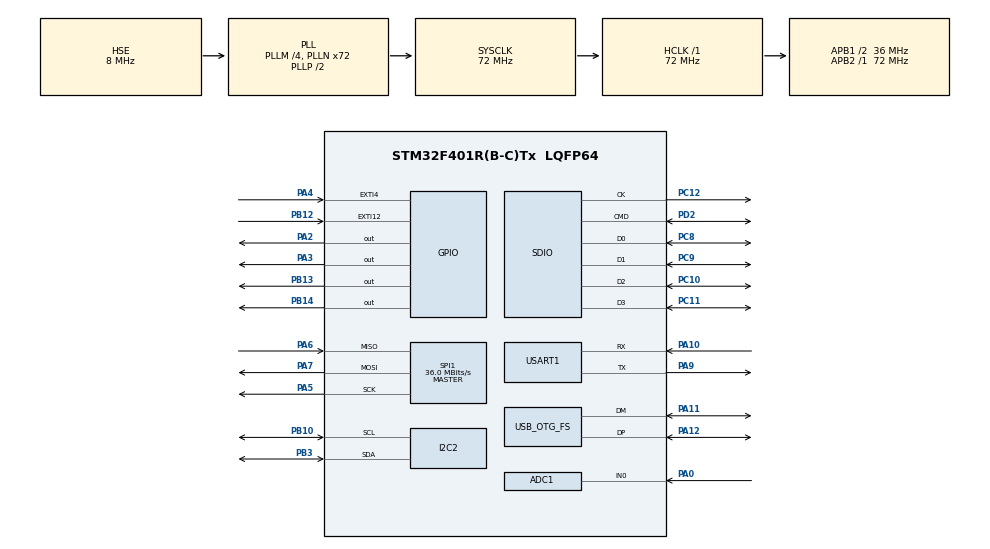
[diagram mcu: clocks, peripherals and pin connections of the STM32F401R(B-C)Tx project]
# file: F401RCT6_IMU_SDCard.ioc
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ADC1.Channel-0\#ChannelRegularConversion=ADC_CHANNEL_0
ADC1.ContinuousConvMode=ENABLE
ADC1.EOCSelection=ADC_EOC_SEQ_CONV
ADC1.NbrOfConversionFlag=1
ADC1.Rank-0\#ChannelRegularConversion=1
ADC1.SamplingTime-0\#ChannelRegularConversion=ADC_SAMPLETIME_3CYCLES
ADC1.ScanConvMode=DISABLE
ADC1.master=1
Dma.Request0=USART1_TX
Dma.USART1_TX.0.Direction=DMA_MEMORY_TO_PERIPH
Dma.USART1_TX.0.FIFOMode=DMA_FIFOMODE_DISABLE
Dma.USART1_TX.0.Instance=DMA2_Stream7
Dma.USART1_TX.0.MemDataAlignment=DMA_MDATAALIGN_BYTE
Dma.USART1_TX.0.MemInc=DMA_MINC_ENABLE
Dma.USART1_TX.0.Mode=DMA_NORMAL
Dma.USART1_TX.0.PeriphDataAlignment=DMA_PDATAALIGN_BYTE
Dma.USART1_TX.0.PeriphInc=DMA_PINC_DISABLE
Dma.USART1_TX.0.Priority=DMA_PRIORITY_LOW
FATFS.USE_DMA_CODE_SD=0
FATFS._USE_LFN=3
I2C2.I2C_Mode=I2C_Fast
Mcu.Family=STM32F4
Mcu.Name=STM32F401R(B-C)Tx
Mcu.Package=LQFP64
NVIC.DMA2_Stream7_IRQn=true\:0\:0\:false\:false\:true\:false
NVIC.EXTI15_10_IRQn=true\:1\:0\:true\:false\:true\:true
NVIC.EXTI4_IRQn=true\:1\:0\:true\:false\:true\:true
NVIC.OTG_FS_IRQn=true\:0\:0\:false\:false\:true\:false
NVIC.PriorityGroup=NVIC_PRIORITYGROUP_4
NVIC.SDIO_IRQn=true\:3\:0\:true\:false\:true\:true
NVIC.USART1_IRQn=true\:0\:0\:false\:false\:true\:true
PA0-WKUP.Signal=ADCx_IN0
PA10.Mode=Asynchronous
PA10.Signal=USART1_RX
PA11.Mode=Device_Only
PA11.Signal=USB_OTG_FS_DM
PA12.Mode=Device_Only
PA12.Signal=USB_OTG_FS_DP
PA13.Mode=Serial_Wire
PA13.Signal=SYS_JTMS-SWDIO
PA14.Mode=Serial_Wire
PA14.Signal=SYS_JTCK-SWCLK
PA2.Signal=GPIO_Output
PA3.Signal=GPIO_Output
PA4.Signal=GPXTI4
PA5.Mode=Full_Duplex_Master
PA5.Signal=SPI1_SCK
PA6.Mode=Full_Duplex_Master
PA6.Signal=SPI1_MISO
PA7.Mode=Full_Duplex_Master
PA7.Signal=SPI1_MOSI
PA9.Mode=Asynchronous
PA9.Signal=USART1_TX
PB10.Mode=I2C
PB10.Signal=I2C2_SCL
PB12.Signal=GPXTI12
PB13.GPIO_ModeDefaultOutputPP=GPIO_MODE_OUTPUT_OD
PB13.Signal=GPIO_Output
PB14.GPIO_ModeDefaultOutputPP=GPIO_MODE_OUTPUT_OD
PB14.Signal=GPIO_Output
PB3.Mode=I2C
PB3.Signal=I2C2_SDA
PC10.Mode=SD_4_bits_Wide_bus
PC10.Signal=SDIO_D2
PC11.Mode=SD_4_bits_Wide_bus
PC11.Signal=SDIO_D3
PC12.Mode=SD_4_bits_Wide_bus
PC12.Signal=SDIO_CK
PC14-OSC32_IN.Mode=LSE-External-Oscillator
PC14-OSC32_IN.Signal=RCC_OSC32_IN
PC15-OSC32_OUT.Mode=LSE-External-Oscillator
PC15-OSC32_OUT.Signal=RCC_OSC32_OUT
PC8.Mode=SD_4_bits_Wide_bus
PC8.Signal=SDIO_D0
PC9.Mode=SD_4_bits_Wide_bus
PC9.Signal=SDIO_D1
PD2.Mode=SD_4_bits_Wide_bus
PD2.Signal=SDIO_CMD
PH0\ -\ OSC_IN.Mode=HSE-External-Oscillator
PH0\ -\ OSC_IN.Signal=RCC_OSC_IN
PH1\ -\ OSC_OUT.Mode=HSE-External-Oscillator
PH1\ -\ OSC_OUT.Signal=RCC_OSC_OUT
ProjectManager.HeapSize=0x400
ProjectManager.StackSize=0x1000
ProjectManager.TargetToolchain=MDK-ARM V5
RCC.48MHZClocksFreq_Value=48000000
RCC.AHBFreq_Value=72000000
RCC.APB1CLKDivider=RCC_HCLK_DIV2
RCC.APB1Freq_Value=36000000
RCC.APB1TimFreq_Value=72000000
RCC.APB2Freq_Value=72000000
RCC.APB2TimFreq_Value=72000000
RCC.CortexFreq_Value=72000000
RCC.HCLKFreq_Value=72000000
RCC.HSE_VALUE=8000000
RCC.HSI_VALUE=16000000
RCC.PLLM=4
RCC.PLLN=72
RCC.PLLQ=3
RCC.RCC_RTC_Clock_SourceVirtual=RCC_RTCCLKSOURCE_LSE
RCC.SYSCLKFreq_VALUE=72000000
RCC.SYSCLKSource=RCC_SYSCLKSOURCE_PLLCLK
RCC.VCOOutputFreq_Value=144000000
SDIO.ClockDiv=2
SH.ADCx_IN0.0=ADC1_IN0,IN0
SPI1.CalculateBaudRate=36.0 MBits/s
SPI1.Direction=SPI_DIRECTION_2LINES
SPI1.Mode=SPI_MODE_MASTER
SPI1.VirtualType=VM_MASTER
USART1.VirtualMode=VM_ASYNC
USB_DEVICE.CLASS_NAME_FS=CDC
USB_DEVICE.VirtualMode=Cdc
USB_DEVICE.VirtualModeFS=Cdc_FS
USB_OTG_FS.VirtualMode=Device_Only
VP_FATFS_VS_SDIO.Mode=SDIO
VP_RTC_VS_RTC_Activate.Mode=RTC_Enabled
VP_USB_DEVICE_VS_USB_DEVICE_CDC_FS.Mode=CDC_FS
board=F401RCT6_IMU_SDCard

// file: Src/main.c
/**
  ******************************************************************************
  * @file           : main.c
  * @brief          : Main program body
  ******************************************************************************
  * This notice applies to any and all portions of this file
  * that are not between comment pairs USER CODE BEGIN and
  * USER CODE END. Other portions of this file, whether
  * inserted by the user or by software development tools
  * are owned by their respective copyright owners.
  *
  * Copyright (c) 2019 STMicroelectronics International N.V.
  * All rights reserved.
  *
  * Redistribution and use in source and binary forms, with or without
  * modification, are permitted, provided that the following conditions are met:
  *
  * 1. Redistribution of source code must retain the above copyright notice,
  *    this list of conditions and the following disclaimer.
  * 2. Redistributions in binary form must reproduce the above copyright notice,
  *    this list of conditions and the following disclaimer in the documentation
  *    and/or other materials provided with the distribution.
  * 3. Neither the name of STMicroelectronics nor the names of other
  *    contributors to this software may be used to endorse or promote products
  *    derived from this software without specific written permission.
  * 4. This software, including modifications and/or derivative works of this
  *    software, must execute solely and exclusively on microcontroller or
  *    microprocessor devices manufactured by or for STMicroelectronics.
  * 5. Redistribution and use of this software other than as permitted under
  *    this license is void and will automatically terminate your rights under
  *    this license.
  *
  * THIS SOFTWARE IS PROVIDED BY STMICROELECTRONICS AND CONTRIBUTORS "AS IS"
  * AND ANY EXPRESS, IMPLIED OR STATUTORY WARRANTIES, INCLUDING, BUT NOT
  * LIMITED TO, THE IMPLIED WARRANTIES OF MERCHANTABILITY, FITNESS FOR A
  * PARTICULAR PURPOSE AND NON-INFRINGEMENT OF THIRD PARTY INTELLECTUAL PROPERTY
  * RIGHTS ARE DISCLAIMED TO THE FULLEST EXTENT PERMITTED BY LAW. IN NO EVENT
  * SHALL STMICROELECTRONICS OR CONTRIBUTORS BE LIABLE FOR ANY DIRECT, INDIRECT,
  * INCIDENTAL, SPECIAL, EXEMPLARY, OR CONSEQUENTIAL DAMAGES (INCLUDING, BUT NOT
  * LIMITED TO, PROCUREMENT OF SUBSTITUTE GOODS OR SERVICES; LOSS OF USE, DATA,
  * OR PROFITS; OR BUSINESS INTERRUPTION) HOWEVER CAUSED AND ON ANY THEORY OF
  * LIABILITY, WHETHER IN CONTRACT, STRICT LIABILITY, OR TORT (INCLUDING
  * NEGLIGENCE OR OTHERWISE) ARISING IN ANY WAY OUT OF THE USE OF THIS SOFTWARE,
  * EVEN IF ADVISED OF THE POSSIBILITY OF SUCH DAMAGE.
  *
  ******************************************************************************
  */
#include "main.h"
#include "stm32f4xx_hal.h"
#include "fatfs.h"
#include "usb_device.h"

/* USER CODE BEGIN Includes */
#include "usbd_cdc_if.h"
#include "MPU9250_RegisterMap.h"
#include "string.h"
#include "SparkFunMPU9250-DMP.h"
#include "sd_diskio.h"
#include "ff.h"
/* USER CODE END Includes */

ADC_HandleTypeDef hadc1;

I2C_HandleTypeDef hi2c2;

RTC_HandleTypeDef hrtc;

SD_HandleTypeDef hsd;

SPI_HandleTypeDef hspi1;

UART_HandleTypeDef huart1;
DMA_HandleTypeDef hdma_usart1_tx;

/* USER CODE BEGIN PV */
/* Private variables ---------------------------------------------------------*/
uint8_t I2C_data_ready;
long gyro_bias[3]={0xB1,0xDE,0xFFFFFFFB};
long accel_bias[3]={0x2D, 0x152, 0xFFFFFFA4};
RTC_TimeTypeDef rtc_time;
RTC_DateTypeDef rtc_date;
volatile uint16_t Vbat;
uint32_t Vbat_tick;
char str_time[80];
char str_imu[128];
FIL MyFile;
uint32_t SD_dected;
uint32_t SDData_ready;
HAL_SD_CardInfoTypeDef fff;

uint32_t firsttime;
uint8_t filename[17];

uint32_t _1s_counter;
/* USER CODE END PV */

void SystemClock_Config(void);
static void MX_GPIO_Init(void);
static void MX_DMA_Init(void);
static void MX_RTC_Init(void);
static void MX_SDIO_SD_Init(void);
static void MX_I2C2_Init(void);
static void MX_ADC1_Init(void);
static void MX_SPI1_Init(void);
static void MX_USART1_UART_Init(void);

/* USER CODE BEGIN PFP */
/* Private function prototypes -----------------------------------------------*/

void Vbat_monitor();
extern "C" {void rtc_set(uint8_t* , uint32_t );}
/* USER CODE END PFP */

/* USER CODE BEGIN 0 */
void update_str_time()
{
	  HAL_RTC_GetTime(&hrtc, &rtc_time, RTC_FORMAT_BIN);
	  HAL_RTC_GetDate(&hrtc, &rtc_date, RTC_FORMAT_BIN);
	  sprintf(str_time,"%04d%02d%02d%02d%02d%02d",2000+rtc_date.Year, rtc_date.Month, rtc_date.Date, rtc_time.Hours, rtc_time.Minutes, rtc_time.Seconds);
}

void SD_DataWrite()
{
 uint32_t wbytes; /* File write counts */
	if (HAL_GetTick()-firsttime>=300000)	//300s
	{
		firsttime=HAL_GetTick();
		update_str_time();
		memcpy(filename, &(str_time[0]), 12);
	}

//	if (Vbat>2172)	//电压不足时判断为断电 停止写入
//	{

		 if(f_open(&MyFile, (TCHAR*)&filename, FA_WRITE | FA_OPEN_APPEND) == FR_OK)
		 {
			 uint8_t tmp[103]={0};
			 memcpy(tmp, &(str_time[8]), 6);
			 tmp[6]='.';
			 uint32_t t=HAL_GetTick();
			 tmp[7]='0'+(t/100%10);
			 tmp[8]='0'+(t/10%10);
			 tmp[9]=':';
			 memcpy(&(tmp[10]), str_imu, 0x5D);
			 //tmp[103]='\0';

			 if (f_write(&MyFile, tmp, 103, (UINT *)&wbytes)==FR_OK)
			 {
				 //f_sync(&MyFile);
				 //f_printf(&MyFile, (TCHAR*)tmp);
				 HAL_GPIO_TogglePin(led_SYS_state_GPIO_Port, led_SYS_state_Pin);
			 }
		//		f_write(&MyFile, &(str_time[8]), 7, (UINT *)&wbytes);
		//
		//	 f_write(&MyFile, ":\t", sizeof(":\t"), (UINT *)&wbytes);
		//	 f_write(&MyFile, str_imu, 0x5D, (UINT *)&wbytes);
		//	 f_write(&MyFile, "\n", sizeof("\n"), (UINT *)&wbytes);

		 }

		 f_close(&MyFile);
//	 }
	//HAL_GPIO_WritePin(led_SYS_state_GPIO_Port, led_SYS_state_Pin, GPIO_PIN_SET);
// if(f_open(&MyFile, "STM32.TXT", FA_OPEN_ALWAYS | FA_WRITE) == FR_OK)
// {
//		 f_lseek(&MyFile, MyFile.fsize);
//		//f_write(&MyFile, str_time, 15, (UINT *)&wbytes);
//		f_write(&MyFile, str_time, (UINT)strlen(str_time), (UINT *)&wbytes);
//		 f_write(&MyFile, ktext, sizeof(ktext), (UINT *)&wbytes) ;
// }
// 	 f_close(&MyFile);

}

//每次复位后模拟一次插拔
void USB_soft_unplug()
{
  GPIO_InitTypeDef GPIO_InitStruct;
  /* GPIO Ports Clock Enable */
  __HAL_RCC_GPIOA_CLK_ENABLE();
  /*Configure GPIO pin Output Level */
  HAL_GPIO_WritePin(GPIOA, GPIO_PIN_12, GPIO_PIN_RESET);
  /*Configure GPIO pin : PA12 */
  GPIO_InitStruct.Pin = GPIO_PIN_12;
  GPIO_InitStruct.Mode = GPIO_MODE_OUTPUT_PP;
  GPIO_InitStruct.Pull = GPIO_PULLDOWN;
  GPIO_InitStruct.Speed = GPIO_SPEED_FREQ_LOW;
  HAL_GPIO_Init(GPIOA, &GPIO_InitStruct);

  HAL_GPIO_WritePin(GPIOA, GPIO_PIN_12,
  GPIO_PIN_RESET);
  HAL_Delay(220);
  //先把PA12拉低再释放，利用D+模拟USB的拔插动作
	HAL_GPIO_DeInit(GPIOA, GPIO_PIN_12);
}

void Vbat_monitor()
{

  if (Vbat>=2358)	//3.8V/2/3.3V*4096
	  HAL_GPIO_WritePin(led_bat_GPIO_Port, led_bat_Pin, GPIO_PIN_RESET);
  else if ( (Vbat>=2234) && (Vbat<2358) )	//3.6V-3.8V
  {
	  if (Vbat_tick>=500)
	  {
		  Vbat_tick=0;
		  HAL_GPIO_TogglePin(led_bat_GPIO_Port, led_bat_Pin);
	  }
  }
  else
  {
	  if (Vbat_tick>=100)
	  {
		  Vbat_tick=0;
		  HAL_GPIO_TogglePin(led_bat_GPIO_Port, led_bat_Pin);
	  }
  }
}

uint32_t chararrayToint(uint8_t* p, uint32_t len)
{
	uint32_t tmp=0, mult = 1;
	while (len--)
	{
		tmp+=(p[len]-'0')*mult;
		mult*=10;
	}
	return tmp;
}

void rtc_set(uint8_t* Buf, uint32_t len)
{
//	if (len==19)
//	{
		uint8_t* p=Buf;
		if((p[0]=='R') && (p[1]=='T') && (p[2]=='C') && (p[3]==':') && (p[12]=='/'))
		{
			rtc_date.Year=chararrayToint(&p[4], 4)-2000;
			rtc_date.Month=chararrayToint(&p[8], 2);
			rtc_date.Date=chararrayToint(&p[10], 2);
			HAL_RTC_SetDate(&hrtc, &rtc_date, RTC_FORMAT_BIN);
			rtc_time.Hours=chararrayToint(&p[13], 2);
			rtc_time.Minutes=chararrayToint(&p[15], 2);
			rtc_time.Seconds=chararrayToint(&p[17], 2);
			HAL_RTC_SetTime(&hrtc, &rtc_time, RTC_FORMAT_BIN);
		}
		else
		{
			uint8_t str[]="RTC formatv should be: RTC:20190705/151350\r\n";
			CDC_Transmit_FS(str, (uint16_t)sizeof(str));
		}
//	}

//  rtc_time.Hours=1;
//  rtc_time.Minutes=19;
//  rtc_time.Seconds=0;
//  HAL_RTC_SetTime(&hrtc, &rtc_time, RTC_FORMAT_BIN);
//  rtc_date.Date=5;
//  rtc_date.Month=7;
//  rtc_date.WeekDay=5;
//  rtc_date.Year=19;
//  HAL_RTC_SetDate(&hrtc, &rtc_date, RTC_FORMAT_BIN);
}

MPU9250_DMP imu;

void printIMUData(void)
{
  // After calling update() the ax, ay, az, gx, gy, gz, mx,
  // my, mz, time, and/or temerature class variables are all
  // updated. Access them by placing the object. in front:

  // Use the calcAccel, calcGyro, and calcMag functions to
  // convert the raw sensor readings (signed 16-bit values)
  // to their respective units.

//  float accelX = imu.calcAccel(imu.ax);
//  float accelY = imu.calcAccel(imu.ay);
//  float accelZ = imu.calcAccel(imu.az);
//  float accelX = imu.calcAccel(imu.ax-accel_bias[0]);
//  float accelY = imu.calcAccel(imu.ay-accel_bias[1]);
//  float accelZ = imu.calcAccel(imu.az-accel_bias[2]);
  float gyroX = imu.calcGyro(imu.gx - gyro_bias[0]);
  float gyroY = imu.calcGyro(imu.gy - gyro_bias[1]);
  float gyroZ = imu.calcGyro(imu.gz - gyro_bias[2]);
  float accelX = imu.calcAccel(imu.ax)-accel_bias[0]/16384.f;
  float accelY = imu.calcAccel(imu.ay)-accel_bias[1]/16384.f;
  float accelZ = imu.calcAccel(imu.az)-accel_bias[2]/16384.f;
//  float gyroX = imu.calcGyro(imu.gx )-gyro_bias[0]/(32768.f/250);
//  float gyroY = imu.calcGyro(imu.gy )-gyro_bias[1]/(32768.f/250);
//  float gyroZ = imu.calcGyro(imu.gz )-gyro_bias[2]/(32768.f/250);
  float magX = imu.calcMag(imu.mx);
  float magY = imu.calcMag(imu.my);
  float magZ = imu.calcMag(imu.mz);
//

////	buf[0]=4;
////	void * p=&accelY;
////
////	buf[1]=(*(uint32_t*)p)>>24;
////	buf[2]=(*(uint32_t*)p)>>16;
////	buf[3]=(*(uint32_t*)p)>>8;
////	buf[4]=(*(uint32_t*)p)&0xff;
////	SEND_BUF(buf);
//printf("imu.gx:%d gyro_bias[0]:%d\r\n",imu.gx, gyro_bias[0]);
//  printf("Accel: %5.3f,%5.3f,%5.3f;",accelX,accelY,accelZ);
//  printf("Gyro: %5.3f,%5.3f,%5.3f;",gyroX,gyroY,gyroZ);
//  printf("Mag: %.3f,%.3f,%.3f",magX,magY,magZ);
////  printf("Time: %lu ms",imu.time);
//  printf("\r\n");

	update_str_time();
	  //CDC_Transmit_FS((uint8_t*)str_time, (uint16_t)sizeof(str_time));

	sprintf(str_imu,"Accel:%7.3f,%7.3f,%7.3f;  Gyro: %7.3f,%7.3f,%7.3f;  Mag:%7.3f,%7.3f,%7.3f\r\n",accelX,accelY,accelZ,gyroX,gyroY,gyroZ,magX,magY,magZ);
	//sprintf(str_imu,"Accel: %7.3f,%7.3f,%7.3f;Gyro: %7.3f,%7.3f,%7.3f\r\n",accelX,accelY,accelZ,gyroX,gyroY,gyroZ);
	CDC_Transmit_FS((uint8_t*)str_imu, (uint16_t)strlen(str_imu));
	SDData_ready=1;

//	nrf24_packed.count=24;
//	nrf24_packed.acc_int16[0]=imu.ax;
//	nrf24_packed.acc_int16[1]=imu.ay;
//	nrf24_packed.acc_int16[2]=imu.az;
//	nrf24_packed.gyro_int16[0]=imu.gx;
//	nrf24_packed.gyro_int16[1]=imu.gy;
//	nrf24_packed.gyro_int16[2]=imu.gz;
//	nrf24_packed.mag_q30[0]=imu.mx;
//	nrf24_packed.mag_q30[1]=imu.my;
//	nrf24_packed.mag_q30[2]=imu.mz;
//	SEND_BUF((uint8_t *)&nrf24_packed);
}

void I2CSetup()
{
  uint8_t pdata[10]={0};
	HAL_I2C_Mem_Read(&hi2c2, ((0x68<<1)), MPU9250_WHO_AM_I, I2C_MEMADD_SIZE_8BIT, pdata, 1, 1000);
//  while (pdata[0]!=0X71)
//  {
//	  //uint8_t str[]="unable to communicate with MPU9250\n";
//	  //CDC_Transmit_FS(str, sizeof(str));
//	  //printf("unable to communicate with MPU9250\n");
//	  HAL_GPIO_TogglePin(led_SYS_state_GPIO_Port,led_SYS_state_Pin);
//	  HAL_I2C_Mem_Read(&hi2c2, ((0x68<<1)), MPU9250_WHO_AM_I, I2C_MEMADD_SIZE_8BIT, pdata, 1, 1000);
//	  HAL_Delay(1000);
//  }

  mpu_run_6500_self_test(gyro_bias, accel_bias,0);
//  gyro_bias[3]={0xA0,0xF2,0xFFFFFFEC};
//  accel_bias[3]={0xE2, 0x101, 0xFFFFFE55};
//  HAL_Delay(100);

  imu.begin();

  imu.setSensors(INV_XYZ_GYRO | INV_XYZ_ACCEL | INV_XYZ_COMPASS);

  // Use setGyroFSR() and setAccelFSR() to configure the
  // gyroscope and accelerometer full scale ranges.
  // Gyro options are +/- 250, 500, 1000, or 2000 dps
  imu.setGyroFSR(250); // Set gyro to 2000 dps
  // Accel options are +/- 2, 4, 8, or 16 g
  imu.setAccelFSR(4); // Set accel to +/-2g
  imu.setSampleRate(100); // Set accel/gyro sample rate to 4Hz
  imu.setLPF(98);
  imu.setCompassSampleRate(100); // Set mag rate to 4Hz

  // Use enableInterrupt() to configure the MPU-9250's
  // interrupt output as a "data ready" indicator.
  imu.enableInterrupt(1);

  // The interrupt level can either be active-high or low.
  // Configure as active-low, since we'll be using the pin's
  // internal pull-up resistor.
  // Options are INT_ACTIVE_LOW or INT_ACTIVE_HIGH
  imu.setIntLevel(INT_ACTIVE_LOW);

  // The interrupt can be set to latch until data has
  // been read, or to work as a 50us pulse.
  // Use latching method -- we'll read from the sensor
  // as soon as we see the pin go LOW.
  // Options are INT_LATCHED or INT_50US_PULSE
  imu.setIntLatched(INT_50US_PULSE);
}

void I2CLoop()
{
	  imu.update(UPDATE_ACCEL | UPDATE_GYRO | UPDATE_COMPASS);
	  //HAL_GPIO_TogglePin(GPIOC, GPIO_PIN_13);
	  printIMUData();
}

void HAL_GPIO_EXTI_Callback(uint16_t GPIO_Pin)
{
	if (GPIO_Pin == GPIO_PIN_12)
	{
		;
		I2C_data_ready=1;

	}
}

uint8_t readddd;
void HAL_SYSTICK_Callback(void)
{
	static int i=0;
	i++;
	if (i%200==0)
	{
		readddd=1;

	}
	Vbat_tick++;

	if(SDData_ready==1)
	{
		SD_DataWrite();
		SDData_ready=0;
	}

	Vbat=HAL_ADC_GetValue(&hadc1);
}
/* USER CODE END 0 */

int main(void)
{

  /* MCU Configuration----------------------------------------------------------*/

  /* Reset of all peripherals, Initializes the Flash interface and the Systick. */
  HAL_Init();

  /* Configure the system clock */
  SystemClock_Config();

  /* USER CODE BEGIN SysInit */
	USB_soft_unplug();
  /* USER CODE END SysInit */

  /* Initialize all configured peripherals */
  MX_GPIO_Init();
  MX_DMA_Init();
  MX_RTC_Init();
  MX_SDIO_SD_Init();
  MX_I2C2_Init();
  MX_ADC1_Init();
  MX_SPI1_Init();
  MX_FATFS_Init();
  MX_USART1_UART_Init();
  MX_USB_DEVICE_Init();
  /* USER CODE BEGIN 2 */
  HAL_ADC_Start(&hadc1);
	I2CSetup();
	firsttime = HAL_GetTick();		//写入SD卡前读取时间与这个变量相减，判断是否要新建文件
	update_str_time();
	filename[15]='t';
	filename[14]='x';
	filename[13]='t';
	filename[12]='.';
	memcpy(filename, &(str_time[0]), 12);
  /* USER CODE END 2 */

  /* Infinite loop */
  while (1)
  {

  /* USER CODE BEGIN 3 */
		Vbat_monitor();

	if (I2C_data_ready==1)
	{
		//HAL_GPIO_TogglePin(led_SYS_state_GPIO_Port,led_SYS_state_Pin);
		I2CLoop();
		I2C_data_ready=0;
	}
  }
  /* USER CODE END 3 */

}

void SystemClock_Config(void)
{

  RCC_OscInitTypeDef RCC_OscInitStruct;
  RCC_ClkInitTypeDef RCC_ClkInitStruct;
  RCC_PeriphCLKInitTypeDef PeriphClkInitStruct;

    /**Configure the main internal regulator output voltage
    */
  __HAL_RCC_PWR_CLK_ENABLE();

  __HAL_PWR_VOLTAGESCALING_CONFIG(PWR_REGULATOR_VOLTAGE_SCALE2);

    /**Initializes the CPU, AHB and APB busses clocks
    */
  RCC_OscInitStruct.OscillatorType = RCC_OSCILLATORTYPE_HSE|RCC_OSCILLATORTYPE_LSE;
  RCC_OscInitStruct.HSEState = RCC_HSE_ON;
  RCC_OscInitStruct.LSEState = RCC_LSE_ON;
  RCC_OscInitStruct.PLL.PLLState = RCC_PLL_ON;
  RCC_OscInitStruct.PLL.PLLSource = RCC_PLLSOURCE_HSE;
  RCC_OscInitStruct.PLL.PLLM = 4;
  RCC_OscInitStruct.PLL.PLLN = 72;
  RCC_OscInitStruct.PLL.PLLP = RCC_PLLP_DIV2;
  RCC_OscInitStruct.PLL.PLLQ = 3;
  if (HAL_RCC_OscConfig(&RCC_OscInitStruct) != HAL_OK)
  {
    _Error_Handler(__FILE__, __LINE__);
  }

    /**Initializes the CPU, AHB and APB busses clocks
    */
  RCC_ClkInitStruct.ClockType = RCC_CLOCKTYPE_HCLK|RCC_CLOCKTYPE_SYSCLK
                              |RCC_CLOCKTYPE_PCLK1|RCC_CLOCKTYPE_PCLK2;
  RCC_ClkInitStruct.SYSCLKSource = RCC_SYSCLKSOURCE_PLLCLK;
  RCC_ClkInitStruct.AHBCLKDivider = RCC_SYSCLK_DIV1;
  RCC_ClkInitStruct.APB1CLKDivider = RCC_HCLK_DIV2;
  RCC_ClkInitStruct.APB2CLKDivider = RCC_HCLK_DIV1;

  if (HAL_RCC_ClockConfig(&RCC_ClkInitStruct, FLASH_LATENCY_2) != HAL_OK)
  {
    _Error_Handler(__FILE__, __LINE__);
  }

  PeriphClkInitStruct.PeriphClockSelection = RCC_PERIPHCLK_RTC;
  PeriphClkInitStruct.RTCClockSelection = RCC_RTCCLKSOURCE_LSE;
  if (HAL_RCCEx_PeriphCLKConfig(&PeriphClkInitStruct) != HAL_OK)
  {
    _Error_Handler(__FILE__, __LINE__);
  }

    /**Configure the Systick interrupt time
    */
  HAL_SYSTICK_Config(HAL_RCC_GetHCLKFreq()/1000);

    /**Configure the Systick
    */
  HAL_SYSTICK_CLKSourceConfig(SYSTICK_CLKSOURCE_HCLK);

  /* SysTick_IRQn interrupt configuration */
  HAL_NVIC_SetPriority(SysTick_IRQn, 0, 0);
}

/* ADC1 init function */
static void MX_ADC1_Init(void)
{

  ADC_ChannelConfTypeDef sConfig;

    /**Configure the global features of the ADC (Clock, Resolution, Data Alignment and number of conversion)
    */
  hadc1.Instance = ADC1;
  hadc1.Init.ClockPrescaler = ADC_CLOCK_SYNC_PCLK_DIV2;
  hadc1.Init.Resolution = ADC_RESOLUTION_12B;
  hadc1.Init.ScanConvMode = DISABLE;
  hadc1.Init.ContinuousConvMode = ENABLE;
  hadc1.Init.DiscontinuousConvMode = DISABLE;
  hadc1.Init.ExternalTrigConvEdge = ADC_EXTERNALTRIGCONVEDGE_NONE;
  hadc1.Init.ExternalTrigConv = ADC_SOFTWARE_START;
  hadc1.Init.DataAlign = ADC_DATAALIGN_RIGHT;
  hadc1.Init.NbrOfConversion = 1;
  hadc1.Init.DMAContinuousRequests = DISABLE;
  hadc1.Init.EOCSelection = ADC_EOC_SEQ_CONV;
  if (HAL_ADC_Init(&hadc1) != HAL_OK)
  {
    _Error_Handler(__FILE__, __LINE__);
  }

    /**Configure for the selected ADC regular channel its corresponding rank in the sequencer and its sample time.
    */
  sConfig.Channel = ADC_CHANNEL_0;
  sConfig.Rank = 1;
  sConfig.SamplingTime = ADC_SAMPLETIME_3CYCLES;
  if (HAL_ADC_ConfigChannel(&hadc1, &sConfig) != HAL_OK)
  {
    _Error_Handler(__FILE__, __LINE__);
  }

}

/* I2C2 init function */
static void MX_I2C2_Init(void)
{

  hi2c2.Instance = I2C2;
  hi2c2.Init.ClockSpeed = 400000;
  hi2c2.Init.DutyCycle = I2C_DUTYCYCLE_2;
  hi2c2.Init.OwnAddress1 = 0;
  hi2c2.Init.AddressingMode = I2C_ADDRESSINGMODE_7BIT;
  hi2c2.Init.DualAddressMode = I2C_DUALADDRESS_DISABLE;
  hi2c2.Init.OwnAddress2 = 0;
  hi2c2.Init.GeneralCallMode = I2C_GENERALCALL_DISABLE;
  hi2c2.Init.NoStretchMode = I2C_NOSTRETCH_DISABLE;
  if (HAL_I2C_Init(&hi2c2) != HAL_OK)
  {
    _Error_Handler(__FILE__, __LINE__);
  }

}

/* RTC init function */
static void MX_RTC_Init(void)
{

    /**Initialize RTC Only
    */
  hrtc.Instance = RTC;
  hrtc.Init.HourFormat = RTC_HOURFORMAT_24;
  hrtc.Init.AsynchPrediv = 127;
  hrtc.Init.SynchPrediv = 255;
  hrtc.Init.OutPut = RTC_OUTPUT_DISABLE;
  hrtc.Init.OutPutPolarity = RTC_OUTPUT_POLARITY_HIGH;
  hrtc.Init.OutPutType = RTC_OUTPUT_TYPE_OPENDRAIN;
  if (HAL_RTC_Init(&hrtc) != HAL_OK)
  {
    _Error_Handler(__FILE__, __LINE__);
  }

}

/* SDIO init function */
static void MX_SDIO_SD_Init(void)
{

  hsd.Instance = SDIO;
  hsd.Init.ClockEdge = SDIO_CLOCK_EDGE_RISING;
  hsd.Init.ClockBypass = SDIO_CLOCK_BYPASS_DISABLE;
  hsd.Init.ClockPowerSave = SDIO_CLOCK_POWER_SAVE_DISABLE;
  hsd.Init.BusWide = SDIO_BUS_WIDE_1B;
  hsd.Init.HardwareFlowControl = SDIO_HARDWARE_FLOW_CONTROL_DISABLE;
  hsd.Init.ClockDiv = 2;

}

/* SPI1 init function */
static void MX_SPI1_Init(void)
{

  /* SPI1 parameter configuration*/
  hspi1.Instance = SPI1;
  hspi1.Init.Mode = SPI_MODE_MASTER;
  hspi1.Init.Direction = SPI_DIRECTION_2LINES;
  hspi1.Init.DataSize = SPI_DATASIZE_8BIT;
  hspi1.Init.CLKPolarity = SPI_POLARITY_LOW;
  hspi1.Init.CLKPhase = SPI_PHASE_1EDGE;
  hspi1.Init.NSS = SPI_NSS_SOFT;
  hspi1.Init.BaudRatePrescaler = SPI_BAUDRATEPRESCALER_2;
  hspi1.Init.FirstBit = SPI_FIRSTBIT_MSB;
  hspi1.Init.TIMode = SPI_TIMODE_DISABLE;
  hspi1.Init.CRCCalculation = SPI_CRCCALCULATION_DISABLE;
  hspi1.Init.CRCPolynomial = 10;
  if (HAL_SPI_Init(&hspi1) != HAL_OK)
  {
    _Error_Handler(__FILE__, __LINE__);
  }

}

/* USART1 init function */
static void MX_USART1_UART_Init(void)
{

  huart1.Instance = USART1;
  huart1.Init.BaudRate = 115200;
  huart1.Init.WordLength = UART_WORDLENGTH_8B;
  huart1.Init.StopBits = UART_STOPBITS_1;
  huart1.Init.Parity = UART_PARITY_NONE;
  huart1.Init.Mode = UART_MODE_TX_RX;
  huart1.Init.HwFlowCtl = UART_HWCONTROL_NONE;
  huart1.Init.OverSampling = UART_OVERSAMPLING_16;
  if (HAL_UART_Init(&huart1) != HAL_OK)
  {
    _Error_Handler(__FILE__, __LINE__);
  }

}

static void MX_DMA_Init(void)
{
  /* DMA controller clock enable */
  __HAL_RCC_DMA2_CLK_ENABLE();

  /* DMA interrupt init */
  /* DMA2_Stream7_IRQn interrupt configuration */
  HAL_NVIC_SetPriority(DMA2_Stream7_IRQn, 0, 0);
  HAL_NVIC_EnableIRQ(DMA2_Stream7_IRQn);

}

/** Configure pins as
        * Analog
        * Input
        * Output
        * EVENT_OUT
        * EXTI
*/
static void MX_GPIO_Init(void)
{

  GPIO_InitTypeDef GPIO_InitStruct;

  /* GPIO Ports Clock Enable */
  __HAL_RCC_GPIOC_CLK_ENABLE();
  __HAL_RCC_GPIOH_CLK_ENABLE();
  __HAL_RCC_GPIOA_CLK_ENABLE();
  __HAL_RCC_GPIOB_CLK_ENABLE();
  __HAL_RCC_GPIOD_CLK_ENABLE();

  /*Configure GPIO pin Output Level */
  HAL_GPIO_WritePin(GPIOA, GPIO_PIN_2|GPIO_PIN_3, GPIO_PIN_RESET);

  /*Configure GPIO pin Output Level */
  HAL_GPIO_WritePin(GPIOB, GPIO_PIN_13|GPIO_PIN_14, GPIO_PIN_SET);

  /*Configure GPIO pins : PA2 PA3 */
  GPIO_InitStruct.Pin = GPIO_PIN_2|GPIO_PIN_3;
  GPIO_InitStruct.Mode = GPIO_MODE_OUTPUT_PP;
  GPIO_InitStruct.Pull = GPIO_NOPULL;
  GPIO_InitStruct.Speed = GPIO_SPEED_FREQ_LOW;
  HAL_GPIO_Init(GPIOA, &GPIO_InitStruct);

  /*Configure GPIO pin : PA4 */
  GPIO_InitStruct.Pin = GPIO_PIN_4;
  GPIO_InitStruct.Mode = GPIO_MODE_IT_RISING;
  GPIO_InitStruct.Pull = GPIO_NOPULL;
  HAL_GPIO_Init(GPIOA, &GPIO_InitStruct);

  /*Configure GPIO pin : PB12 */
  GPIO_InitStruct.Pin = GPIO_PIN_12;
  GPIO_InitStruct.Mode = GPIO_MODE_IT_RISING;
  GPIO_InitStruct.Pull = GPIO_NOPULL;
  HAL_GPIO_Init(GPIOB, &GPIO_InitStruct);

  /*Configure GPIO pins : PB13 PB14 */
  GPIO_InitStruct.Pin = GPIO_PIN_13|GPIO_PIN_14;
  GPIO_InitStruct.Mode = GPIO_MODE_OUTPUT_OD;
  GPIO_InitStruct.Pull = GPIO_NOPULL;
  GPIO_InitStruct.Speed = GPIO_SPEED_FREQ_LOW;
  HAL_GPIO_Init(GPIOB, &GPIO_InitStruct);

  /* EXTI interrupt init*/
  HAL_NVIC_SetPriority(EXTI4_IRQn, 1, 0);
  HAL_NVIC_EnableIRQ(EXTI4_IRQn);

  HAL_NVIC_SetPriority(EXTI15_10_IRQn, 1, 0);
  HAL_NVIC_EnableIRQ(EXTI15_10_IRQn);

}

void _Error_Handler(char *file, int line)
{
  while(1)
  {
  }
}

/************************ (C) COPYRIGHT STMicroelectronics *****END OF FILE****/
